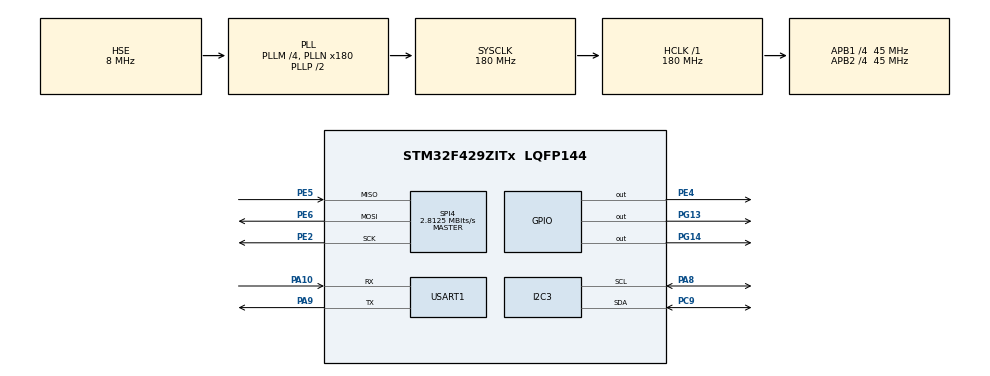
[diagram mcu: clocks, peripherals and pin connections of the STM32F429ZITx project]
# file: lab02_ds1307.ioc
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I2C3.I2C_Mode=I2C_Fast
Mcu.Family=STM32F4
Mcu.Name=STM32F429ZITx
Mcu.Package=LQFP144
NVIC.PriorityGroup=NVIC_PRIORITYGROUP_4
NVIC.USART1_IRQn=true\:0\:0\:false\:false\:true\:true\:true\:true
PA10.Mode=Asynchronous
PA10.Signal=USART1_RX
PA8.Mode=I2C
PA8.Signal=I2C3_SCL
PA9.Mode=Asynchronous
PA9.Signal=USART1_TX
PC9.Mode=I2C
PC9.Signal=I2C3_SDA
PE2.Mode=Full_Duplex_Master
PE2.Signal=SPI4_SCK
PE4.Signal=GPIO_Output
PE5.Mode=Full_Duplex_Master
PE5.Signal=SPI4_MISO
PE6.Mode=Full_Duplex_Master
PE6.Signal=SPI4_MOSI
PG13.Signal=GPIO_Output
PG14.Signal=GPIO_Output
PH0/OSC_IN.Mode=HSE-External-Oscillator
PH0/OSC_IN.Signal=RCC_OSC_IN
PH1/OSC_OUT.Mode=HSE-External-Oscillator
PH1/OSC_OUT.Signal=RCC_OSC_OUT
ProjectManager.HeapSize=0x200
ProjectManager.StackSize=0x400
ProjectManager.TargetToolchain=STM32CubeIDE
RCC.48MHZClocksFreq_Value=90000000
RCC.AHBFreq_Value=180000000
RCC.APB1CLKDivider=RCC_HCLK_DIV4
RCC.APB1Freq_Value=45000000
RCC.APB1TimFreq_Value=90000000
RCC.APB2CLKDivider=RCC_HCLK_DIV4
RCC.APB2Freq_Value=45000000
RCC.APB2TimFreq_Value=90000000
RCC.CortexFreq_Value=180000000
RCC.HCLKFreq_Value=180000000
RCC.HSE_VALUE=8000000
RCC.HSI_VALUE=16000000
RCC.LSE_VALUE=32768
RCC.PLLM=4
RCC.PLLN=180
RCC.PLLSourceVirtual=RCC_PLLSOURCE_HSE
RCC.SYSCLKFreq_VALUE=180000000
RCC.SYSCLKSource=RCC_SYSCLKSOURCE_PLLCLK
RCC.VCOOutputFreq_Value=360000000
SPI4.BaudRatePrescaler=SPI_BAUDRATEPRESCALER_16
SPI4.CalculateBaudRate=2.8125 MBits/s
SPI4.Direction=SPI_DIRECTION_2LINES
SPI4.Mode=SPI_MODE_MASTER
SPI4.VirtualType=VM_MASTER
USART1.VirtualMode=VM_ASYNC
board=custom

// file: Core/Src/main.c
/* USER CODE BEGIN Header */
/**
  ******************************************************************************
  * @file           : main.c
  * @brief          : Main program body
  ******************************************************************************
  * @attention
  *
  * Copyright (c) 2026 STMicroelectronics.
  * All rights reserved.
  *
  * This software is licensed under terms that can be found in the LICENSE file
  * in the root directory of this software component.
  * If no LICENSE file comes with this software, it is provided AS-IS.
  *
  ******************************************************************************
  */
/* USER CODE END Header */
#include "main.h"

/* USER CODE BEGIN Includes */
#include <stdio.h>
#include <string.h>
#include "SH1106.h"
#include "tm_stm32f4_mfrc522.h"
/* USER CODE END Includes */

/* USER CODE BEGIN PD */
#define USE_DS1307 1
#define DS1307_ADDR_WRITE 0xD0
#define DS1307_ADDR_READ  0xD1
#define DS1307_SET_TIME_ONCE 0
#define LED3_ON()  HAL_GPIO_WritePin(GPIOG, GPIO_PIN_13, GPIO_PIN_SET)
#define LED3_OFF() HAL_GPIO_WritePin(GPIOG, GPIO_PIN_13, GPIO_PIN_RESET)
#define LED4_ON()  HAL_GPIO_WritePin(GPIOG, GPIO_PIN_14, GPIO_PIN_SET)
#define LED4_OFF() HAL_GPIO_WritePin(GPIOG, GPIO_PIN_14, GPIO_PIN_RESET)
/* USER CODE END PD */

I2C_HandleTypeDef hi2c3;

SPI_HandleTypeDef hspi4;

UART_HandleTypeDef huart1;

/* USER CODE BEGIN PV */
struct Time
{
  uint8_t sec;
  uint8_t min;
  uint8_t hour;
  uint8_t weekday;
  uint8_t day;
  uint8_t month;
  uint8_t year;
};

uint8_t rfid_id[5];
uint8_t card_detected = 0;
uint8_t valid_card[5] = {};
uint8_t card_authorized = 0;

typedef struct
{
  struct Time time;
  uint8_t uid[5];
} LogEntry_t;

LogEntry_t access_log[100];
uint8_t log_count = 0;

uint8_t uart_rx_char;
char uart_cmd[32];
uint8_t uart_cmd_index = 0;
uint8_t uart_cmd_ready = 0;
/* USER CODE END PV */

void SystemClock_Config(void);
static void MX_GPIO_Init(void);
static void MX_I2C3_Init(void);
static void MX_SPI4_Init(void);
static void MX_USART1_UART_Init(void);
/* USER CODE BEGIN PFP */
HAL_StatusTypeDef SetTime(struct Time *t);
HAL_StatusTypeDef GetTime(struct Time *t);
void SaveLog(struct Time *t, uint8_t *uid);
void ProcessUartCommand(void);
/* USER CODE END PFP */

/* USER CODE BEGIN 0 */
static uint8_t DecToBcd(uint8_t val)
{
  return ((val / 10) << 4) | (val % 10);
}

static uint8_t BcdToDec(uint8_t val)
{
  return ((val >> 4) * 10) + (val & 0x0F);
}

HAL_StatusTypeDef SetTime(struct Time *t)
{
  uint8_t data[7];

  data[0] = DecToBcd(t->sec) & 0x7F;
  data[1] = DecToBcd(t->min);
  data[2] = DecToBcd(t->hour);
  data[3] = DecToBcd(t->weekday);
  data[4] = DecToBcd(t->day);
  data[5] = DecToBcd(t->month);
  data[6] = DecToBcd(t->year);

  return HAL_I2C_Mem_Write(&hi2c3, DS1307_ADDR_WRITE, 0x00, I2C_MEMADD_SIZE_8BIT, data, 7, 1000);
}

HAL_StatusTypeDef GetTime(struct Time *t)
{
  uint8_t data[7];
  HAL_StatusTypeDef ret;

  ret = HAL_I2C_Mem_Read(&hi2c3, DS1307_ADDR_READ, 0x00, I2C_MEMADD_SIZE_8BIT, data, 7, 1000);
  if (ret != HAL_OK)
  {
    return ret;
  }

  t->sec     = BcdToDec(data[0] & 0x7F);
  t->min     = BcdToDec(data[1] & 0x7F);
  t->hour    = BcdToDec(data[2] & 0x3F);
  t->weekday = BcdToDec(data[3] & 0x07);
  t->day     = BcdToDec(data[4] & 0x3F);
  t->month   = BcdToDec(data[5] & 0x1F);
  t->year    = BcdToDec(data[6]);

  return HAL_OK;
}

void SaveLog(struct Time *t, uint8_t *uid)
{
  if (log_count < 100)
  {
    access_log[log_count].time = *t;
    memcpy(access_log[log_count].uid, uid, 5);
    log_count++;
  }
}

void ProcessUartCommand(void)
{
  char tx[100];
  uint8_t i;
  unsigned int b0, b1, b2, b3, b4;

  uint8_t k;

  for (k = 0; uart_cmd[k] != '\0'; k++)
  {
    if (uart_cmd[k] >= 'a' && uart_cmd[k] <= 'z')
    {
      uart_cmd[k] = uart_cmd[k] - 32;
    }
  }

  if (strcmp(uart_cmd, "HELP") == 0)
  {
	  sprintf(tx, "CMD: HELP, LOG, CLEAR, SETCARD XX XX XX XX XX\r\n");
    HAL_UART_Transmit(&huart1, (uint8_t *)tx, strlen(tx), 1000);
  }
  else if (strcmp(uart_cmd, "LOG") == 0)
  {
    sprintf(tx, "LOG COUNT = %d\r\n", log_count);
    HAL_UART_Transmit(&huart1, (uint8_t *)tx, strlen(tx), 1000);

    for (i = 0; i < log_count; i++)
    {
      sprintf(tx,
              "%02d) %02d:%02d:%02d %02d/%02d/20%02d UID=%02X %02X %02X %02X %02X\r\n",
              i + 1,
              access_log[i].time.hour,
              access_log[i].time.min,
              access_log[i].time.sec,
              access_log[i].time.day,
              access_log[i].time.month,
              access_log[i].time.year,
              access_log[i].uid[0],
              access_log[i].uid[1],
              access_log[i].uid[2],
              access_log[i].uid[3],
              access_log[i].uid[4]);
      HAL_UART_Transmit(&huart1, (uint8_t *)tx, strlen(tx), 1000);
    }
  }
  else if (sscanf(uart_cmd, "SETCARD %x %x %x %x %x", &b0, &b1, &b2, &b3, &b4) == 5)
  {
    valid_card[0] = (uint8_t)b0;
    valid_card[1] = (uint8_t)b1;
    valid_card[2] = (uint8_t)b2;
    valid_card[3] = (uint8_t)b3;
    valid_card[4] = (uint8_t)b4;

    sprintf(tx, "CARD SET: %02X %02X %02X %02X %02X\r\n",
            valid_card[0],
            valid_card[1],
            valid_card[2],
            valid_card[3],
            valid_card[4]);
    HAL_UART_Transmit(&huart1, (uint8_t *)tx, strlen(tx), 1000);
  }
  else if (strcmp(uart_cmd, "CLEAR") == 0)
  {
    log_count = 0;
    sprintf(tx, "LOG CLEARED\r\n");
    HAL_UART_Transmit(&huart1, (uint8_t *)tx, strlen(tx), 1000);
  }
  else
  {
    sprintf(tx, "UNKNOWN CMD\r\n");
    HAL_UART_Transmit(&huart1, (uint8_t *)tx, strlen(tx), 1000);
  }

  uart_cmd_index = 0;
  uart_cmd_ready = 0;
  memset(uart_cmd, 0, sizeof(uart_cmd));

}
/* USER CODE END 0 */

int main(void)
{

  /* MCU Configuration--------------------------------------------------------*/

  /* Reset of all peripherals, Initializes the Flash interface and the Systick. */
  HAL_Init();

  /* Configure the system clock */
  SystemClock_Config();

  /* Initialize all configured peripherals */
  MX_GPIO_Init();
  MX_I2C3_Init();
  MX_SPI4_Init();
  MX_USART1_UART_Init();
  /* USER CODE BEGIN 2 */
  struct Time set_time, get_time;
  char buff[50];

  set_time.sec = 10;
  set_time.min = 40;
  set_time.hour = 10;
  set_time.weekday = 1;
  set_time.day = 10;
  set_time.month = 5;
  set_time.year = 26;

  #if DS1307_SET_TIME_ONCE
  SetTime(&set_time);
  #endif

  if (SH1106_Init())
  {
    sprintf(buff, "%s", "RC522 RFID");
    SH1106_GotoXY(12, 10);
    SH1106_Puts(buff, &Font_11x18, 1);
    SH1106_UpdateScreen();
    HAL_Delay(1000);
  }
  else
  {
    sprintf(buff, "SH1106 init error\r\n");
    HAL_UART_Transmit(&huart1, (uint8_t *)buff, strlen(buff), 1000);
  }

  TM_MFRC522_Init();

  LED3_OFF();
  LED4_OFF();

  HAL_UART_Receive_IT(&huart1, &uart_rx_char, 1);
  /* USER CODE END 2 */

  /* Infinite loop */
  while (1)
  {

    /* USER CODE BEGIN 3 */
	  if (TM_MFRC522_Check(rfid_id) == MI_OK)
	  {
		  if (card_detected == 0)
		  {
		    card_detected = 1;
		  }
	    LED3_ON();

	    if (TM_MFRC522_Compare(rfid_id, valid_card) == MI_OK)
	    {
	      card_authorized = 1;
	      LED4_ON();

	      if (card_detected == 1)
	      {
	      #if USE_DS1307
	        if (GetTime(&get_time) == HAL_OK)
	        {
	          SaveLog(&get_time, rfid_id);
	        }
	      #endif
	      }
	    }
	    else
	    {
	      card_authorized = 0;
	      LED4_OFF();
	    }
	    card_detected = 2;

	    SH1106_Fill(SH1106_COLOR_BLACK);

	    if (card_authorized)
	    {
	      SH1106_GotoXY(10, 0);
	      SH1106_Puts("Welcome", &Font_11x18, SH1106_COLOR_WHITE);
	    }
	    else
	    {
	      SH1106_GotoXY(8, 0);
	      SH1106_Puts("Rejected", &Font_11x18, SH1106_COLOR_WHITE);
	    }

	    sprintf(buff, "%02X %02X %02X %02X %02X",
	            rfid_id[0],
	            rfid_id[1],
	            rfid_id[2],
	            rfid_id[3],
	            rfid_id[4]);

	    SH1106_GotoXY(0, 30);
	    SH1106_Puts(buff, &Font_7x10, SH1106_COLOR_WHITE);
	    SH1106_UpdateScreen();

	    sprintf(buff, "%s UID: %02X %02X %02X %02X %02X\r\n",
	            card_authorized ? "OK" : "REJ",
	            rfid_id[0],
	            rfid_id[1],
	            rfid_id[2],
	            rfid_id[3],
	            rfid_id[4]);
	    HAL_UART_Transmit(&huart1, (uint8_t *)buff, strlen(buff), 1000);

	    HAL_Delay(300);
	  }
	  else
	  {
	    card_detected = 0;
	    LED3_OFF();
	    LED4_OFF();
	    card_authorized = 0;

	    if (GetTime(&get_time) == HAL_OK)
	    {
	      SH1106_Fill(SH1106_COLOR_BLACK);

	      sprintf(buff, "%02d:%02d:%02d",
	              get_time.hour,
	              get_time.min,
	              get_time.sec);
	      SH1106_GotoXY(20, 8);
	      SH1106_Puts(buff, &Font_11x18, SH1106_COLOR_WHITE);

	      sprintf(buff, "%02d/%02d/20%02d",
	              get_time.day,
	              get_time.month,
	              get_time.year);
	      SH1106_GotoXY(30, 32);
	      SH1106_Puts(buff, &Font_7x10, SH1106_COLOR_WHITE);

	      SH1106_UpdateScreen();

	      sprintf(buff, "%02d:%02d:%02d-%02d-%02d/%02d/%02d\r\n",
	              get_time.hour,
	              get_time.min,
	              get_time.sec,
	              get_time.weekday,
	              get_time.day,
	              get_time.month,
	              get_time.year);
	      HAL_UART_Transmit(&huart1, (uint8_t *)buff, strlen(buff), 1000);
	    }
	    else
	    {
	      SH1106_Fill(SH1106_COLOR_BLACK);
	      SH1106_GotoXY(10, 20);
	      SH1106_Puts("DS1307 ERROR", &Font_11x18, SH1106_COLOR_WHITE);
	      SH1106_UpdateScreen();

	      sprintf(buff, "DS1307 read error\r\n");
	      HAL_UART_Transmit(&huart1, (uint8_t *)buff, strlen(buff), 1000);
	    }

	    HAL_Delay(500);
	  }

	  if (uart_cmd_ready)
	  {
	    ProcessUartCommand();
	  }
  }
  /* USER CODE END 3 */
}

void SystemClock_Config(void)
{
  RCC_OscInitTypeDef RCC_OscInitStruct = {0};
  RCC_ClkInitTypeDef RCC_ClkInitStruct = {0};

  /** Configure the main internal regulator output voltage
  */
  __HAL_RCC_PWR_CLK_ENABLE();
  __HAL_PWR_VOLTAGESCALING_CONFIG(PWR_REGULATOR_VOLTAGE_SCALE1);

  /** Initializes the RCC Oscillators according to the specified parameters
  * in the RCC_OscInitTypeDef structure.
  */
  RCC_OscInitStruct.OscillatorType = RCC_OSCILLATORTYPE_HSE;
  RCC_OscInitStruct.HSEState = RCC_HSE_ON;
  RCC_OscInitStruct.PLL.PLLState = RCC_PLL_ON;
  RCC_OscInitStruct.PLL.PLLSource = RCC_PLLSOURCE_HSE;
  RCC_OscInitStruct.PLL.PLLM = 4;
  RCC_OscInitStruct.PLL.PLLN = 180;
  RCC_OscInitStruct.PLL.PLLP = RCC_PLLP_DIV2;
  RCC_OscInitStruct.PLL.PLLQ = 4;
  if (HAL_RCC_OscConfig(&RCC_OscInitStruct) != HAL_OK)
  {
    Error_Handler();
  }

  /** Activate the Over-Drive mode
  */
  if (HAL_PWREx_EnableOverDrive() != HAL_OK)
  {
    Error_Handler();
  }

  /** Initializes the CPU, AHB and APB buses clocks
  */
  RCC_ClkInitStruct.ClockType = RCC_CLOCKTYPE_HCLK|RCC_CLOCKTYPE_SYSCLK
                              |RCC_CLOCKTYPE_PCLK1|RCC_CLOCKTYPE_PCLK2;
  RCC_ClkInitStruct.SYSCLKSource = RCC_SYSCLKSOURCE_PLLCLK;
  RCC_ClkInitStruct.AHBCLKDivider = RCC_SYSCLK_DIV1;
  RCC_ClkInitStruct.APB1CLKDivider = RCC_HCLK_DIV4;
  RCC_ClkInitStruct.APB2CLKDivider = RCC_HCLK_DIV4;

  if (HAL_RCC_ClockConfig(&RCC_ClkInitStruct, FLASH_LATENCY_5) != HAL_OK)
  {
    Error_Handler();
  }
}

static void MX_I2C3_Init(void)
{

  hi2c3.Instance = I2C3;
  hi2c3.Init.ClockSpeed = 400000;
  hi2c3.Init.DutyCycle = I2C_DUTYCYCLE_2;
  hi2c3.Init.OwnAddress1 = 0;
  hi2c3.Init.AddressingMode = I2C_ADDRESSINGMODE_7BIT;
  hi2c3.Init.DualAddressMode = I2C_DUALADDRESS_DISABLE;
  hi2c3.Init.OwnAddress2 = 0;
  hi2c3.Init.GeneralCallMode = I2C_GENERALCALL_DISABLE;
  hi2c3.Init.NoStretchMode = I2C_NOSTRETCH_DISABLE;
  if (HAL_I2C_Init(&hi2c3) != HAL_OK)
  {
    Error_Handler();
  }

  /** Configure Analogue filter
  */
  if (HAL_I2CEx_ConfigAnalogFilter(&hi2c3, I2C_ANALOGFILTER_ENABLE) != HAL_OK)
  {
    Error_Handler();
  }

  /** Configure Digital filter
  */
  if (HAL_I2CEx_ConfigDigitalFilter(&hi2c3, 0) != HAL_OK)
  {
    Error_Handler();
  }

}

static void MX_SPI4_Init(void)
{

  /* SPI4 parameter configuration*/
  hspi4.Instance = SPI4;
  hspi4.Init.Mode = SPI_MODE_MASTER;
  hspi4.Init.Direction = SPI_DIRECTION_2LINES;
  hspi4.Init.DataSize = SPI_DATASIZE_8BIT;
  hspi4.Init.CLKPolarity = SPI_POLARITY_LOW;
  hspi4.Init.CLKPhase = SPI_PHASE_1EDGE;
  hspi4.Init.NSS = SPI_NSS_SOFT;
  hspi4.Init.BaudRatePrescaler = SPI_BAUDRATEPRESCALER_16;
  hspi4.Init.FirstBit = SPI_FIRSTBIT_MSB;
  hspi4.Init.TIMode = SPI_TIMODE_DISABLE;
  hspi4.Init.CRCCalculation = SPI_CRCCALCULATION_DISABLE;
  hspi4.Init.CRCPolynomial = 10;
  if (HAL_SPI_Init(&hspi4) != HAL_OK)
  {
    Error_Handler();
  }

}

static void MX_USART1_UART_Init(void)
{

  huart1.Instance = USART1;
  huart1.Init.BaudRate = 115200;
  huart1.Init.WordLength = UART_WORDLENGTH_8B;
  huart1.Init.StopBits = UART_STOPBITS_1;
  huart1.Init.Parity = UART_PARITY_NONE;
  huart1.Init.Mode = UART_MODE_TX_RX;
  huart1.Init.HwFlowCtl = UART_HWCONTROL_NONE;
  huart1.Init.OverSampling = UART_OVERSAMPLING_16;
  if (HAL_UART_Init(&huart1) != HAL_OK)
  {
    Error_Handler();
  }

}

static void MX_GPIO_Init(void)
{
  GPIO_InitTypeDef GPIO_InitStruct = {0};

  /* GPIO Ports Clock Enable */
  __HAL_RCC_GPIOE_CLK_ENABLE();
  __HAL_RCC_GPIOH_CLK_ENABLE();
  __HAL_RCC_GPIOC_CLK_ENABLE();
  __HAL_RCC_GPIOA_CLK_ENABLE();
  __HAL_RCC_GPIOG_CLK_ENABLE();

  /*Configure GPIO pin Output Level */
  HAL_GPIO_WritePin(GPIOE, GPIO_PIN_4, GPIO_PIN_RESET);

  /*Configure GPIO pin Output Level */
  HAL_GPIO_WritePin(GPIOG, GPIO_PIN_13|GPIO_PIN_14, GPIO_PIN_RESET);

  /*Configure GPIO pin : PE4 */
  GPIO_InitStruct.Pin = GPIO_PIN_4;
  GPIO_InitStruct.Mode = GPIO_MODE_OUTPUT_PP;
  GPIO_InitStruct.Pull = GPIO_NOPULL;
  GPIO_InitStruct.Speed = GPIO_SPEED_FREQ_LOW;
  HAL_GPIO_Init(GPIOE, &GPIO_InitStruct);

  /*Configure GPIO pins : PG13 PG14 */
  GPIO_InitStruct.Pin = GPIO_PIN_13|GPIO_PIN_14;
  GPIO_InitStruct.Mode = GPIO_MODE_OUTPUT_PP;
  GPIO_InitStruct.Pull = GPIO_NOPULL;
  GPIO_InitStruct.Speed = GPIO_SPEED_FREQ_LOW;
  HAL_GPIO_Init(GPIOG, &GPIO_InitStruct);

}

/* USER CODE BEGIN 4 */
void HAL_UART_RxCpltCallback(UART_HandleTypeDef *huart)
{
  if (huart->Instance == USART1)
  {
	 if (uart_rx_char == '\r' || uart_rx_char == '\n' || uart_rx_char == '#')
    {
      if (uart_cmd_index > 0)
      {
        uart_cmd[uart_cmd_index] = '\0';
        uart_cmd_ready = 1;
      }
    }
    else
    {
      if (uart_cmd_index < sizeof(uart_cmd) - 1)
      {
        uart_cmd[uart_cmd_index++] = uart_rx_char;
      }
    }

    HAL_UART_Receive_IT(&huart1, &uart_rx_char, 1);
  }
}
/* USER CODE END 4 */

void Error_Handler(void)
{
  __disable_irq();
  while (1)
  {
  }
}
